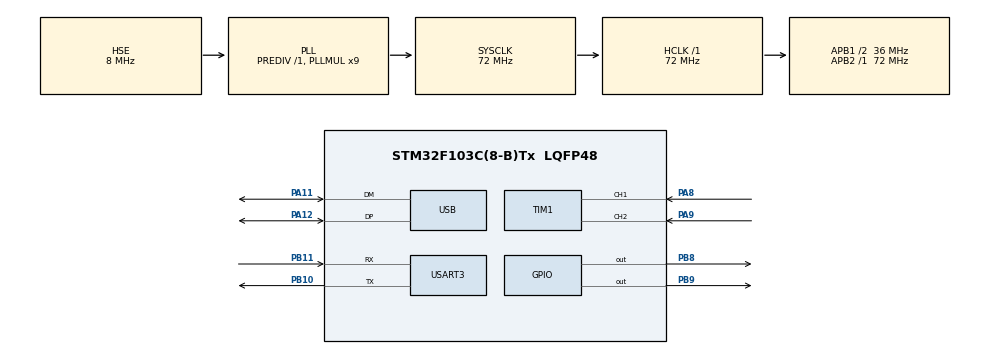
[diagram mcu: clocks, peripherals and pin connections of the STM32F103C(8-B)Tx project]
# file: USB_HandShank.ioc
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Mcu.Family=STM32F1
Mcu.Name=STM32F103C(8-B)Tx
Mcu.Package=LQFP48
NVIC.PriorityGroup=NVIC_PRIORITYGROUP_4
NVIC.TIM1_BRK_IRQn=true\:0\:0\:false\:false\:true\:true\:true\:true
NVIC.TIM1_CC_IRQn=true\:0\:0\:false\:false\:true\:true\:true\:true
NVIC.TIM1_TRG_COM_IRQn=true\:0\:0\:false\:false\:true\:true\:true\:true
NVIC.TIM1_UP_IRQn=true\:0\:0\:false\:false\:true\:true\:true\:true
NVIC.USB_LP_CAN1_RX0_IRQn=true\:0\:0\:false\:false\:true\:false\:true\:true
PA11.Mode=Device
PA11.Signal=USB_DM
PA12.Mode=Device
PA12.Signal=USB_DP
PA13.Mode=Serial_Wire
PA13.Signal=SYS_JTMS-SWDIO
PA14.Mode=Serial_Wire
PA14.Signal=SYS_JTCK-SWCLK
PA8.Signal=S_TIM1_CH1
PA9.Signal=S_TIM1_CH2
PB10.Mode=Asynchronous
PB10.Signal=USART3_TX
PB11.Mode=Asynchronous
PB11.Signal=USART3_RX
PB8.GPIO_ModeDefaultOutputPP=GPIO_MODE_OUTPUT_OD
PB8.GPIO_PuPd=GPIO_NOPULL
PB8.Signal=GPIO_Output
PB9.GPIO_ModeDefaultOutputPP=GPIO_MODE_OUTPUT_OD
PB9.GPIO_PuPd=GPIO_NOPULL
PB9.Signal=GPIO_Output
PD0-OSC_IN.Mode=HSE-External-Oscillator
PD0-OSC_IN.Signal=RCC_OSC_IN
PD1-OSC_OUT.Mode=HSE-External-Oscillator
PD1-OSC_OUT.Signal=RCC_OSC_OUT
ProjectManager.HeapSize=0x200
ProjectManager.StackSize=0x400
ProjectManager.TargetToolchain=MDK-ARM V5.32
RCC.AHBFreq_Value=72000000
RCC.APB1CLKDivider=RCC_HCLK_DIV2
RCC.APB1Freq_Value=36000000
RCC.APB1TimFreq_Value=72000000
RCC.APB2Freq_Value=72000000
RCC.APB2TimFreq_Value=72000000
RCC.HCLKFreq_Value=72000000
RCC.PLLMUL=RCC_PLL_MUL9
RCC.PLLSourceVirtual=RCC_PLLSOURCE_HSE
RCC.SYSCLKFreq_VALUE=72000000
RCC.SYSCLKSource=RCC_SYSCLKSOURCE_PLLCLK
RCC.USBFreq_Value=48000000
RCC.USBPrescaler=RCC_USBCLKSOURCE_PLL_DIV1_5
SH.S_TIM1_CH1.0=TIM1_CH1,Encoder_Interface
SH.S_TIM1_CH2.0=TIM1_CH2,Encoder_Interface
USART3.VirtualMode=VM_ASYNC
USB_DEVICE.CLASS_NAME_FS=HID
USB_DEVICE.VirtualMode=Hid
USB_DEVICE.VirtualModeFS=Hid_FS
VP_USB_DEVICE_VS_USB_DEVICE_HID_FS.Mode=HID_FS
board=custom

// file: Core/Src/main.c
/* USER CODE BEGIN Header */
/**
  ******************************************************************************
  * @file           : main.c
  * @brief          : Main program body
  ******************************************************************************
  * @attention
  *
  * Copyright (c) 2024 STMicroelectronics.
  * All rights reserved.
  *
  * This software is licensed under terms that can be found in the LICENSE file
  * in the root directory of this software component.
  * If no LICENSE file comes with this software, it is provided AS-IS.
  *
  ******************************************************************************
  */
/* USER CODE END Header */
#include "main.h"
#include "tim.h"
#include "usart.h"
#include "usb_device.h"
#include "gpio.h"

/* USER CODE BEGIN Includes */
#include "usbd_hid.h"

/* USER CODE END Includes */

void SystemClock_Config(void);

int main(void)
{

  /* MCU Configuration--------------------------------------------------------*/

  /* Reset of all peripherals, Initializes the Flash interface and the Systick. */
  HAL_Init();

  /* Configure the system clock */
  SystemClock_Config();

  /* Initialize all configured peripherals */
  MX_GPIO_Init();
  MX_USB_DEVICE_Init();
  MX_TIM1_Init();
  MX_USART3_UART_Init();
  /* USER CODE BEGIN 2 */
	OLED_Init();
	HC06_Init();
	Encoder_Init();

  /* USER CODE END 2 */

  /* Infinite loop */
  /* USER CODE BEGIN WHILE */
	extern USBD_HandleTypeDef hUsbDeviceFS;

	typedef struct mouseHID_t
	{
		int8_t x;
		int8_t y;
  } mouseHID_t;

	mouseHID_t mouseHID;
	mouseHID.x = 0;
	mouseHID.y = 0;

  while (1)
  {
		Encoder_Detection();
		OLED_Printf(0, 0, 8, "Count: %-5d", Rotary_Encoder_Count);
		OLED_Printf(0, 16, 8, "Degree: %-5d", Degree);
		OLED_Printf(0, 0, 8, "1234567890");
		OLED_Update();

		mouseHID.x = Degree;
		mouseHID.y = 0;

//		while (USBD_HID_SendReport(&hUsbDeviceFS, (uint8_t*)&mouseHID, sizeof(mouseHID_t)));
    /* USER CODE END WHILE */

  }
}

void SystemClock_Config(void)
{
  RCC_OscInitTypeDef RCC_OscInitStruct = {0};
  RCC_ClkInitTypeDef RCC_ClkInitStruct = {0};
  RCC_PeriphCLKInitTypeDef PeriphClkInit = {0};

  /** Initializes the RCC Oscillators according to the specified parameters
  * in the RCC_OscInitTypeDef structure.
  */
  RCC_OscInitStruct.OscillatorType = RCC_OSCILLATORTYPE_HSE;
  RCC_OscInitStruct.HSEState = RCC_HSE_ON;
  RCC_OscInitStruct.HSEPredivValue = RCC_HSE_PREDIV_DIV1;
  RCC_OscInitStruct.HSIState = RCC_HSI_ON;
  RCC_OscInitStruct.PLL.PLLState = RCC_PLL_ON;
  RCC_OscInitStruct.PLL.PLLSource = RCC_PLLSOURCE_HSE;
  RCC_OscInitStruct.PLL.PLLMUL = RCC_PLL_MUL9;
  if (HAL_RCC_OscConfig(&RCC_OscInitStruct) != HAL_OK)
  {
    Error_Handler();
  }

  /** Initializes the CPU, AHB and APB buses clocks
  */
  RCC_ClkInitStruct.ClockType = RCC_CLOCKTYPE_HCLK|RCC_CLOCKTYPE_SYSCLK
                              |RCC_CLOCKTYPE_PCLK1|RCC_CLOCKTYPE_PCLK2;
  RCC_ClkInitStruct.SYSCLKSource = RCC_SYSCLKSOURCE_PLLCLK;
  RCC_ClkInitStruct.AHBCLKDivider = RCC_SYSCLK_DIV1;
  RCC_ClkInitStruct.APB1CLKDivider = RCC_HCLK_DIV2;
  RCC_ClkInitStruct.APB2CLKDivider = RCC_HCLK_DIV1;

  if (HAL_RCC_ClockConfig(&RCC_ClkInitStruct, FLASH_LATENCY_2) != HAL_OK)
  {
    Error_Handler();
  }
  PeriphClkInit.PeriphClockSelection = RCC_PERIPHCLK_USB;
  PeriphClkInit.UsbClockSelection = RCC_USBCLKSOURCE_PLL_DIV1_5;
  if (HAL_RCCEx_PeriphCLKConfig(&PeriphClkInit) != HAL_OK)
  {
    Error_Handler();
  }
}

void Error_Handler(void)
{
  __disable_irq();
  while (1)
  {
  }
}
